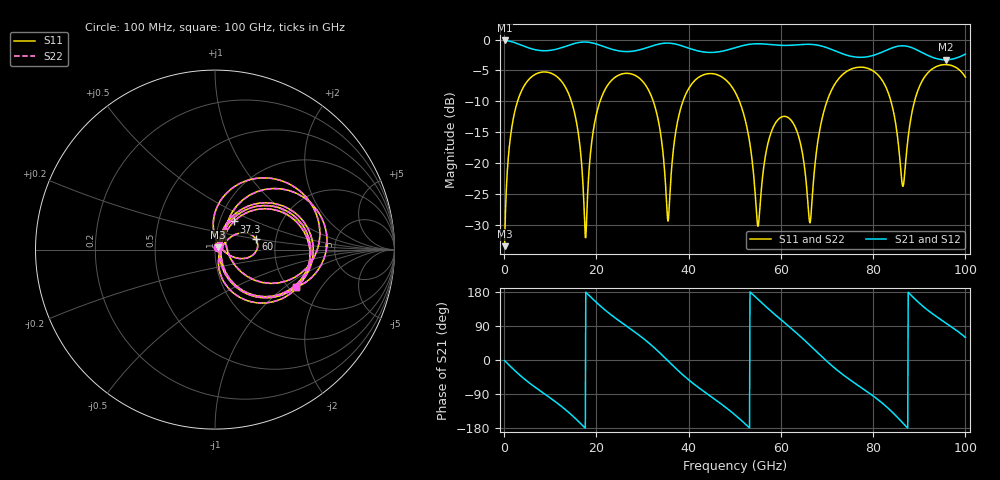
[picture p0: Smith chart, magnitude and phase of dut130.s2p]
! Touchstone file exported from HFSS 2026.1.0
!  File:  C:/ffzhzh/LocalFiles/Ansys_Project_Files/temp_train_TSV_RDL_130_1783639592_33328.aedt
!  Generated:  07:40:09 AM Jul 10, 2026
!  Design:  TSV_RDL
!  Project:  temp_train_TSV_RDL_130_1783639592_33328
! Variables:
!  h_bsmrdl = 3.65um
!  h_ox = 20um
!  h_rdl = 5um
!  h_sub = 63.95um
!  h_tmrdl = 3.89um
!  h_tsv = 63.95um
!  h_via = 3um
!  l_bsmrdl = 333.45um
!  l_sub = 3573.19um
!  l_tmrdl = 514.41um
!  m_sub = 200um
!  pitch = 45.77um
!  r_tsv = 5.43um
!  s_tmrdl = 10um
!  w_bsmrdl = 16.08um
!  w_sub = 500um
!  w_tmrdl = 22.32um
!  x_tsv_center1 = 525.57um
!  x_tsv_center2 = 875.1um
!  x_tsv_center3 = 1411.83um
!  x_tsv_center4 = 1761.36um
!  x_tsv_center5 = 2298.09um
!  x_tsv_center6 = 2647.62um
# GHz S MA R 50.000000
! Terminal data exported
! Port[1] = TM_RDL1_1_T1
! Port[2] = TM_RDL5_1_T1
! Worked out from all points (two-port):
!   1000 points, 100 MHz to 100 GHz, reference 50 ohm
!   highest |S21| = -0.15 dB at 100 MHz (marker M1); lowest = -3.3 dB at 95.7 GHz (marker M2)
!   |S21| within 3 dB of the highest: start of sweep to 94.11 GHz; 97.25 GHz to end of sweep
!   lowest |S11| = -33.4 dB at 100 MHz (marker M3), VSWR 1.04, Z = 51.7 + j1.32 ohm
!   |S11| at or under -10 dB: 14.58 GHz to 20.78 GHz (6.2 GHz wide, 35.1 % of centre); 32.34 GHz to 38.75 GHz (6.416 GHz wide, 18 % of centre); 51.01 GHz to 69.98 GHz (18.97 GHz wide, 31.4 % of centre) (the widest 3 of 5)
!   |S22| runs from -33.4 to -4.0 dB; largest |S21 - S12| = 1.7e-14
!   S11 on the Smith chart (normalised r, x): 100 MHz: 1.03, +0.03; 37.3 GHz: 1.17, +0.38; 60 GHz: 1.58, +0.19; 100 GHz: 2.17, -1.21
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0.1  0.0214 36.5  0.983 -1.3  0.983 -1.3  0.0214 36.5
! Gamma 0 0 0 0
! Port Impedance 50 0 50 0
2  0.2311 60.3  0.9514 -24.4  0.9514 -24.4  0.2311 60.3
6.2  0.5082 20.2  0.8364 -67.3  0.8364 -67.3  0.5082 20.2
13.4  0.4044 -41.5  0.8831 -132.1  0.8831 -132.1  0.4045 -41.5
16.8  0.09845 -67.7  0.9529 -170.2  0.9529 -170.2  0.09846 -67.8
17.7  0.02507 10.0  0.9549 178.9  0.9549 178.9  0.02492 10.0
19.9  0.2392 56.3  0.9225 153.1  0.9225 153.1  0.2392 56.3
24.1  0.4969 18.5  0.8203 110.8  0.8203 110.8  0.4969 18.5
33.4  0.2238 -60.4  0.9162 22.8  0.9162 22.8  0.2239 -60.3
35.5  0.03411 -7.3  0.9359 -1.9  0.9359 -1.9  0.03454 -7.2
37.3  0.1893 56.0  0.9165 -23.2  0.9165 -23.2  0.1894 55.9
43  0.5149 7.8  0.7957 -80.4  0.7957 -80.4  0.5149 7.8
50.1  0.3746 -52.2  0.8593 -145.4  0.8593 -145.4  0.3746 -52.0
55  0.03099 -23.4  0.9245 160.4  0.9245 160.4  0.03187 -23.0
60  0.2353 14.2  0.898 106.5  0.898 106.5  0.2356 14.1
66.7  0.04681 75.8  0.913 34.1  0.913 34.1  0.04628 76.1
72.1  0.4595 59.7  0.7997 -25.7  0.7997 -25.7  0.4593 59.8
83.4  0.3602 -31.5  0.8358 -128.9  0.8358 -128.9  0.3604 -31.2
86.5  0.06528 17.8  0.8901 -167.1  0.8901 -167.1  0.06725 17.7
89.8  0.3967 54.2  0.8133 152.4  0.8133 152.4  0.397 54.0
95.7  0.6274 7.8  0.6856 98.2  0.6856 98.2  0.6275 7.7
100  0.497 -25.0  0.7624 59.6  0.7624 59.6  0.4971 -25.1
